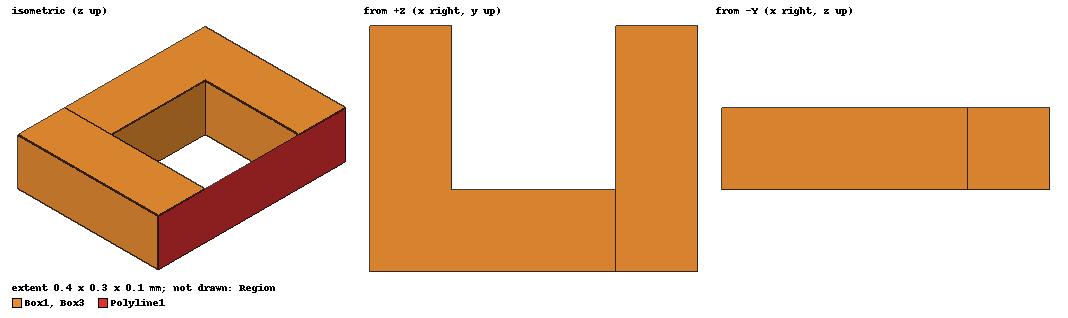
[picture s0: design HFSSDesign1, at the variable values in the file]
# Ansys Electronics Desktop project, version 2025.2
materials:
  vacuum: permittivity=1
  copper: permeability=0.999991 conductivity=58000000
  silver: permeability=0.99998 conductivity=61000000

design HFSSDesign1 (HFSS, HFSS Terminal Network, model units mm)
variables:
  test = 0mm
  coil_groups_0__count_mode = 1
  coil_shape_inner_margin_x = 1mm
  coil_spacing_tx_vertical_center_gap_mm = 2mm
  ferrite_present = 1
  tx_region_z_parts_dd_z_mm = 3mm
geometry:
  Box1 [copper] = box(corner=(-0.3mm, -0.2mm, 0mm), size=(0.1mm, 0.3mm, 0.1mm))
  Box2 = box(corner=(-0.2mm, -0.1mm, 0mm), size=(0.2mm, -0.1mm, 0.1mm))
  Box1.unite(Box2)
  Region [vacuum] = region(percentage_offset=300 on all sides)
  Box3 [copper] = box(corner=(0mm, -0.2mm, 0mm), size=(0.1mm, 0.3mm, 0.1mm))
  Polyline1 = polyline(y=0.1mm, xz in mm: (-0.3, 0.1) (-0.3, 0) (0.1, 0) (0.1, 0.1) (-0.3, 0.1), closed, covered)
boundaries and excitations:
  Box3_T1: Terminal port=1 Faces=Box3.face(+y) TerminalResistance=50ohm
  1: Lumped Port Faces=Polyline1.face LumpedPortType=Terminal Impedance=50ohm
  reference conductors: Box1
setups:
  Setup1: HfssDriven Frequency=0.5MHz MaxDeltaS=0.5 MaximumPasses=3 MinimumPasses=1 MinimumConvergedPasses=2 PercentRefinement=75 BasisOrder=1 PortAccuracy=2 DrivenSolverType="Direct Solver"
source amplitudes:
  1:1: 1V 0deg
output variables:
  k_ratio = 1
  Lrx_uH = 1uH
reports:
  Terminal Z Parameter Table1: im(Zt(Box3_T1,Box3_T1)) vs Freq on Setup1 : LastAdaptive
  Variables Table1: Freq, test vs Freq on Setup1 : LastAdaptive

design Maxwell3DDesign1 (Maxwell 3D, AC Magnetic, model units mm)
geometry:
  Box1 [silver] = box(corner=(-0.25mm, 0mm, 0mm), size=(0.5mm, 0.15mm, 0.1mm))
  Region [vacuum] = region(percentage_offset: +X=0, -X=0, +Y=150, -Y=150, +Z=150, -Z=150)
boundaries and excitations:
  Radiation1: Radiation Faces=Region.face(all 6)
  CoilTerminal1: Coil Terminal Faces=Box1.face(+x) Conductor_number=1 Winding=Winding1 Point_out_of_terminal=false
  CoilTerminal2: Coil Terminal Faces=Box1.face(-x) Conductor_number=1 Winding=Winding1 Point_out_of_terminal=true
  Winding1: Winding Group Type=Current IsSolid=true Current=1A ParallelBranchesNum=1 Phase=0deg
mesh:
  initial mesh: GlobalCurvilinear{Apply}
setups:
  Setup1: AC Magnetic MaximumPasses=3 MinimumPasses=2 MinimumConvergedPasses=1 PercentRefinement=30 SolveFieldOnly PercentError=1 NonLinearResidual=0.0001 Frequency=1kHz LossAdaptiveCtrl=0.5
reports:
  Winding Table1: FluxLinkage(Winding1), InducedVoltage(Winding1), InputCurrent(Winding1), FluxLinkage(Winding2), InducedVoltage(Winding2), InputCurrent(Winding2) vs Freq on Setup1 : LastAdaptive
  Loss Table1: CoreLoss, PerWindingSolidLoss(Winding1), PerWindingSolidLoss(Winding2), SolidLoss, StrandedLoss, StrandedLossAC, StrandedLossR vs Freq on Setup1 : LastAdaptive
